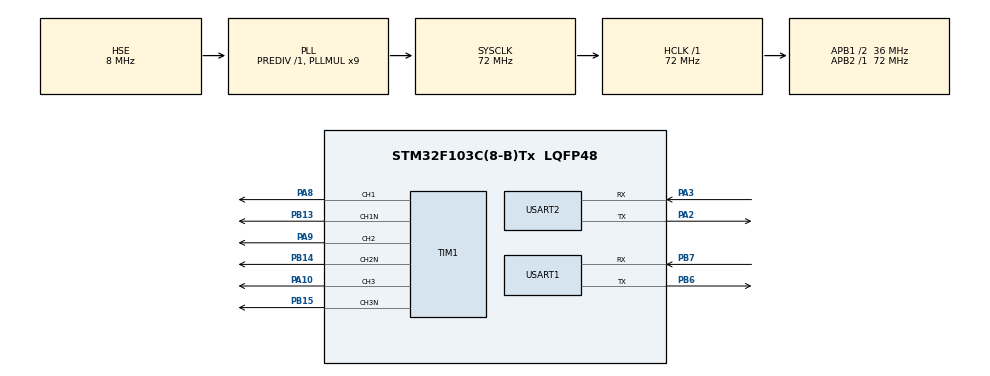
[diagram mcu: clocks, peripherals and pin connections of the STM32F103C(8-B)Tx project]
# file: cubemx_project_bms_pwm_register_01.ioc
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Mcu.Family=STM32F1
Mcu.Name=STM32F103C(8-B)Tx
Mcu.Package=LQFP48
NVIC.PriorityGroup=NVIC_PRIORITYGROUP_4
NVIC.RCC_IRQn=true\:0\:0\:false\:false\:true\:true\:false\:true
NVIC.TIM2_IRQn=true\:0\:0\:false\:false\:true\:true\:true\:true
NVIC.USART1_IRQn=true\:0\:0\:false\:false\:true\:true\:true\:true
NVIC.USART2_IRQn=true\:0\:0\:false\:false\:true\:true\:true\:true
PA10.GPIO_ModeDefaultPP=GPIO_MODE_AF_PP
PA10.GPIO_Speed=GPIO_SPEED_FREQ_LOW
PA10.Signal=S_TIM1_CH3
PA13.Mode=Serial_Wire
PA13.Signal=SYS_JTMS-SWDIO
PA14.Mode=Serial_Wire
PA14.Signal=SYS_JTCK-SWCLK
PA2.Mode=Asynchronous
PA2.Signal=USART2_TX
PA3.Mode=Asynchronous
PA3.Signal=USART2_RX
PA8.GPIO_ModeDefaultPP=GPIO_MODE_AF_PP
PA8.GPIO_Speed=GPIO_SPEED_FREQ_LOW
PA8.Signal=S_TIM1_CH1
PA9.GPIO_ModeDefaultPP=GPIO_MODE_AF_PP
PA9.GPIO_Speed=GPIO_SPEED_FREQ_LOW
PA9.Signal=S_TIM1_CH2
PB13.GPIO_ModeDefaultPP=GPIO_MODE_AF_PP
PB13.GPIO_Speed=GPIO_SPEED_FREQ_LOW
PB13.Mode=PWM Generation1 CH1 CH1N
PB13.Signal=TIM1_CH1N
PB14.GPIO_ModeDefaultPP=GPIO_MODE_AF_PP
PB14.GPIO_Speed=GPIO_SPEED_FREQ_LOW
PB14.Mode=PWM Generation2 CH2 CH2N
PB14.Signal=TIM1_CH2N
PB15.GPIO_ModeDefaultPP=GPIO_MODE_AF_PP
PB15.GPIO_Speed=GPIO_SPEED_FREQ_LOW
PB15.Mode=PWM Generation3 CH3 CH3N
PB15.Signal=TIM1_CH3N
PB6.Mode=Asynchronous
PB6.Signal=USART1_TX
PB7.Mode=Asynchronous
PB7.Signal=USART1_RX
PD0-OSC_IN.Mode=HSE-External-Oscillator
PD0-OSC_IN.Signal=RCC_OSC_IN
PD1-OSC_OUT.Mode=HSE-External-Oscillator
PD1-OSC_OUT.Signal=RCC_OSC_OUT
ProjectManager.HeapSize=0x200
ProjectManager.StackSize=0x400
ProjectManager.TargetToolchain=STM32CubeIDE
RCC.AHBFreq_Value=72000000
RCC.APB1CLKDivider=RCC_HCLK_DIV2
RCC.APB1Freq_Value=36000000
RCC.APB1TimFreq_Value=72000000
RCC.APB2Freq_Value=72000000
RCC.APB2TimFreq_Value=72000000
RCC.EnbaleCSS=true
RCC.HCLKFreq_Value=72000000
RCC.PLLMUL=RCC_PLL_MUL9
RCC.PLLSourceVirtual=RCC_PLLSOURCE_HSE
RCC.SYSCLKFreq_VALUE=72000000
RCC.SYSCLKSource=RCC_SYSCLKSOURCE_PLLCLK
RCC.USBFreq_Value=72000000
SH.S_TIM1_CH1.0=TIM1_CH1,PWM Generation1 CH1 CH1N
SH.S_TIM1_CH2.0=TIM1_CH2,PWM Generation2 CH2 CH2N
SH.S_TIM1_CH3.0=TIM1_CH3,PWM Generation3 CH3 CH3N
TIM1.Channel-PWM\ Generation1\ CH1\ CH1N=TIM_CHANNEL_1
TIM1.Channel-PWM\ Generation2\ CH2\ CH2N=TIM_CHANNEL_2
TIM1.Channel-PWM\ Generation3\ CH3\ CH3N=TIM_CHANNEL_3
USART1.VirtualMode=VM_ASYNC
USART2.VirtualMode=VM_ASYNC
VP_TIM1_VS_ClockSourceINT.Mode=Internal
VP_TIM2_VS_ClockSourceINT.Mode=Internal
board=custom

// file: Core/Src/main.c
/* USER CODE BEGIN Header */
/**
  ******************************************************************************
  * @file           : main.c
  * @brief          : Main program body
  ******************************************************************************
  * @attention
  *
  * Copyright (c) 2024 STMicroelectronics.
  * All rights reserved.
  *
  * This software is licensed under terms that can be found in the LICENSE file
  * in the root directory of this software component.
  * If no LICENSE file comes with this software, it is provided AS-IS.
  *
  ******************************************************************************
  */
/* USER CODE END Header */
#include "main.h"

/* USER CODE BEGIN Includes */
#include <stdio.h>
#include <string.h>
#include <stdbool.h>
/* USER CODE END Includes */

/* USER CODE BEGIN PD */
GPIO_InitTypeDef m_gpioInit;
GPIO_TypeDef m_gpioType;

/* USER CODE END PD */

TIM_HandleTypeDef htim1;
TIM_HandleTypeDef htim2;

UART_HandleTypeDef huart1;
UART_HandleTypeDef huart2;

/* USER CODE BEGIN PV */
uint16_t autoReload = 60;

uint8_t g_rxTempBuf[1];
uint8_t g_rxBuf[40];
uint8_t g_txBuf[40];
uint16_t g_rxIndex;
bool g_rxIntFlg;
/* USER CODE END PV */

void SystemClock_Config(void);
static void MX_GPIO_Init(void);
static void MX_TIM1_Init(void);
static void MX_USART1_UART_Init(void);
static void MX_TIM2_Init(void);
static void MX_USART2_UART_Init(void);
/* USER CODE BEGIN PFP */
void UsrInitPwm(void);
void UsrInitGpio(void);
/* USER CODE END PFP */

/* USER CODE BEGIN 0 */
void HAL_UART_RxCpltCallback(UART_HandleTypeDef *huart)
{
	if(huart->Instance == USART1)
	{
		g_rxBuf[g_rxIndex++] = g_rxTempBuf[0];
		if(g_rxIndex >= 40)
			g_rxIndex = 0;
		g_rxIntFlg = true;
		HAL_UART_Receive_IT(&huart1, (uint8_t*)g_rxTempBuf, 1);
	}
}
/* USER CODE END 0 */

int main(void)
{

  /* MCU Configuration--------------------------------------------------------*/

  /* Reset of all peripherals, Initializes the Flash interface and the Systick. */
  HAL_Init();

  /* Configure the system clock */
  SystemClock_Config();

  /* Initialize all configured peripherals */
  MX_GPIO_Init();
  MX_TIM1_Init();
  MX_USART1_UART_Init();
  MX_TIM2_Init();
  MX_USART2_UART_Init();
  /* USER CODE BEGIN 2 */

  HAL_UART_Receive_IT(&huart1, (uint8_t*)g_rxTempBuf, 1);
  UsrInitGpio();
  UsrInitPwm();

  HAL_UART_Transmit(&huart2, (uint8_t*)g_txBuf, sprintf((char*)g_txBuf, "Starting While Loop\n"), 100);
  /* USER CODE END 2 */

  /* Infinite loop */
  while (1)
  {

    /* USER CODE BEGIN 3 */
//	  UsrInitPwm();
	  if(g_rxIntFlg)
	  {
		  if (g_rxTempBuf[0] == '1')
		  {
			  if (autoReload <= 100)
			  {
				  autoReload += 10;
			  }
		  }
		  g_rxIntFlg = false;
	  }
  }
  /* USER CODE END 3 */
}

void SystemClock_Config(void)
{
  RCC_OscInitTypeDef RCC_OscInitStruct = {0};
  RCC_ClkInitTypeDef RCC_ClkInitStruct = {0};

  /** Initializes the RCC Oscillators according to the specified parameters
  * in the RCC_OscInitTypeDef structure.
  */
  RCC_OscInitStruct.OscillatorType = RCC_OSCILLATORTYPE_HSE;
  RCC_OscInitStruct.HSEState = RCC_HSE_ON;
  RCC_OscInitStruct.HSEPredivValue = RCC_HSE_PREDIV_DIV1;
  RCC_OscInitStruct.HSIState = RCC_HSI_ON;
  RCC_OscInitStruct.PLL.PLLState = RCC_PLL_ON;
  RCC_OscInitStruct.PLL.PLLSource = RCC_PLLSOURCE_HSE;
  RCC_OscInitStruct.PLL.PLLMUL = RCC_PLL_MUL9;
  if (HAL_RCC_OscConfig(&RCC_OscInitStruct) != HAL_OK)
  {
    Error_Handler();
  }

  /** Initializes the CPU, AHB and APB buses clocks
  */
  RCC_ClkInitStruct.ClockType = RCC_CLOCKTYPE_HCLK|RCC_CLOCKTYPE_SYSCLK
                              |RCC_CLOCKTYPE_PCLK1|RCC_CLOCKTYPE_PCLK2;
  RCC_ClkInitStruct.SYSCLKSource = RCC_SYSCLKSOURCE_PLLCLK;
  RCC_ClkInitStruct.AHBCLKDivider = RCC_SYSCLK_DIV1;
  RCC_ClkInitStruct.APB1CLKDivider = RCC_HCLK_DIV2;
  RCC_ClkInitStruct.APB2CLKDivider = RCC_HCLK_DIV1;

  if (HAL_RCC_ClockConfig(&RCC_ClkInitStruct, FLASH_LATENCY_2) != HAL_OK)
  {
    Error_Handler();
  }

  /** Enables the Clock Security System
  */
  HAL_RCC_EnableCSS();
}

static void MX_TIM1_Init(void)
{

  TIM_ClockConfigTypeDef sClockSourceConfig = {0};
  TIM_MasterConfigTypeDef sMasterConfig = {0};
  TIM_OC_InitTypeDef sConfigOC = {0};
  TIM_BreakDeadTimeConfigTypeDef sBreakDeadTimeConfig = {0};

  htim1.Instance = TIM1;
  htim1.Init.Prescaler = 0;
  htim1.Init.CounterMode = TIM_COUNTERMODE_UP;
  htim1.Init.Period = 65535;
  htim1.Init.ClockDivision = TIM_CLOCKDIVISION_DIV1;
  htim1.Init.RepetitionCounter = 0;
  htim1.Init.AutoReloadPreload = TIM_AUTORELOAD_PRELOAD_DISABLE;
  if (HAL_TIM_Base_Init(&htim1) != HAL_OK)
  {
    Error_Handler();
  }
  sClockSourceConfig.ClockSource = TIM_CLOCKSOURCE_INTERNAL;
  if (HAL_TIM_ConfigClockSource(&htim1, &sClockSourceConfig) != HAL_OK)
  {
    Error_Handler();
  }
  if (HAL_TIM_PWM_Init(&htim1) != HAL_OK)
  {
    Error_Handler();
  }
  sMasterConfig.MasterOutputTrigger = TIM_TRGO_RESET;
  sMasterConfig.MasterSlaveMode = TIM_MASTERSLAVEMODE_DISABLE;
  if (HAL_TIMEx_MasterConfigSynchronization(&htim1, &sMasterConfig) != HAL_OK)
  {
    Error_Handler();
  }
  sConfigOC.OCMode = TIM_OCMODE_PWM1;
  sConfigOC.Pulse = 0;
  sConfigOC.OCPolarity = TIM_OCPOLARITY_HIGH;
  sConfigOC.OCNPolarity = TIM_OCNPOLARITY_HIGH;
  sConfigOC.OCFastMode = TIM_OCFAST_DISABLE;
  sConfigOC.OCIdleState = TIM_OCIDLESTATE_RESET;
  sConfigOC.OCNIdleState = TIM_OCNIDLESTATE_RESET;
  if (HAL_TIM_PWM_ConfigChannel(&htim1, &sConfigOC, TIM_CHANNEL_1) != HAL_OK)
  {
    Error_Handler();
  }
  if (HAL_TIM_PWM_ConfigChannel(&htim1, &sConfigOC, TIM_CHANNEL_2) != HAL_OK)
  {
    Error_Handler();
  }
  if (HAL_TIM_PWM_ConfigChannel(&htim1, &sConfigOC, TIM_CHANNEL_3) != HAL_OK)
  {
    Error_Handler();
  }
  sBreakDeadTimeConfig.OffStateRunMode = TIM_OSSR_DISABLE;
  sBreakDeadTimeConfig.OffStateIDLEMode = TIM_OSSI_DISABLE;
  sBreakDeadTimeConfig.LockLevel = TIM_LOCKLEVEL_OFF;
  sBreakDeadTimeConfig.DeadTime = 0;
  sBreakDeadTimeConfig.BreakState = TIM_BREAK_DISABLE;
  sBreakDeadTimeConfig.BreakPolarity = TIM_BREAKPOLARITY_HIGH;
  sBreakDeadTimeConfig.AutomaticOutput = TIM_AUTOMATICOUTPUT_DISABLE;
  if (HAL_TIMEx_ConfigBreakDeadTime(&htim1, &sBreakDeadTimeConfig) != HAL_OK)
  {
    Error_Handler();
  }
  HAL_TIM_MspPostInit(&htim1);

}

static void MX_TIM2_Init(void)
{

  TIM_ClockConfigTypeDef sClockSourceConfig = {0};
  TIM_MasterConfigTypeDef sMasterConfig = {0};

  htim2.Instance = TIM2;
  htim2.Init.Prescaler = 0;
  htim2.Init.CounterMode = TIM_COUNTERMODE_UP;
  htim2.Init.Period = 65535;
  htim2.Init.ClockDivision = TIM_CLOCKDIVISION_DIV1;
  htim2.Init.AutoReloadPreload = TIM_AUTORELOAD_PRELOAD_DISABLE;
  if (HAL_TIM_Base_Init(&htim2) != HAL_OK)
  {
    Error_Handler();
  }
  sClockSourceConfig.ClockSource = TIM_CLOCKSOURCE_INTERNAL;
  if (HAL_TIM_ConfigClockSource(&htim2, &sClockSourceConfig) != HAL_OK)
  {
    Error_Handler();
  }
  sMasterConfig.MasterOutputTrigger = TIM_TRGO_RESET;
  sMasterConfig.MasterSlaveMode = TIM_MASTERSLAVEMODE_DISABLE;
  if (HAL_TIMEx_MasterConfigSynchronization(&htim2, &sMasterConfig) != HAL_OK)
  {
    Error_Handler();
  }

}

static void MX_USART1_UART_Init(void)
{

  huart1.Instance = USART1;
  huart1.Init.BaudRate = 115200;
  huart1.Init.WordLength = UART_WORDLENGTH_8B;
  huart1.Init.StopBits = UART_STOPBITS_1;
  huart1.Init.Parity = UART_PARITY_NONE;
  huart1.Init.Mode = UART_MODE_TX_RX;
  huart1.Init.HwFlowCtl = UART_HWCONTROL_NONE;
  huart1.Init.OverSampling = UART_OVERSAMPLING_16;
  if (HAL_UART_Init(&huart1) != HAL_OK)
  {
    Error_Handler();
  }

}

static void MX_USART2_UART_Init(void)
{

  huart2.Instance = USART2;
  huart2.Init.BaudRate = 115200;
  huart2.Init.WordLength = UART_WORDLENGTH_8B;
  huart2.Init.StopBits = UART_STOPBITS_1;
  huart2.Init.Parity = UART_PARITY_NONE;
  huart2.Init.Mode = UART_MODE_TX_RX;
  huart2.Init.HwFlowCtl = UART_HWCONTROL_NONE;
  huart2.Init.OverSampling = UART_OVERSAMPLING_16;
  if (HAL_UART_Init(&huart2) != HAL_OK)
  {
    Error_Handler();
  }

}

static void MX_GPIO_Init(void)
{

  /* GPIO Ports Clock Enable */
  __HAL_RCC_GPIOD_CLK_ENABLE();
  __HAL_RCC_GPIOA_CLK_ENABLE();
  __HAL_RCC_GPIOB_CLK_ENABLE();

}

/* USER CODE BEGIN 4 */
void UsrInitGpio(void)
{
	GPIOA->CRL &= (uint32_t)0x00000000;
	GPIOB->CRL &= (uint32_t)0x00000000;

	GPIOA->CRH &= (uint32_t)0x00000000;
	GPIOA->CRH |= (uint32_t)0x00000BBB;

	GPIOB->CRH &= (uint32_t)0x00000000;
	GPIOB->CRH |= (uint32_t)0xBBB00000;

}

void UsrInitPwm(void)
{
    // Zamanlayıcı ayarları
	TIM1->PSC = 11;  // Prescaler: 0
	TIM1->ARR = autoReload - 1;  // Auto-reload register

//	TIM1->CR1 |= (uint32_t)0x00;  // clock division is 0
//	TIM1->CR1 |= (uint32_t)0x80;  // auto-preload enable
//	TIM1->CR1 |= (uint32_t)0x00;  // 00 edge-aligned mode
//	TIM1->CR1 |= (uint32_t)0x10;  // counter up counter
//	TIM1->CR1 |= (uint32_t)0x01;  // counter enbale

    // PWM mode 1 (upcounting, TIMx_CCRx < TIMx_CNT) oc1 and oc2
	TIM1->CCMR1 &= ~(TIM_CCMR1_OC1M | TIM_CCMR1_OC2M);
	TIM1->CCMR1 |= (uint32_t)0x6868;  // pwm mode 1 and output compare enable

	TIM1->CCMR2 &= ~(TIM_CCMR2_OC3M);
	TIM1->CCMR2 |= (uint32_t)0x68; // bunlari kontrol et

    // Capture/compare register
	TIM1->CCR1 = (autoReload) * (0.5);  // Duty cycle %50
	TIM1->CCR2 = (autoReload) * (0.6);
	TIM1->CCR3 = (autoReload) * (0.7);
    // CC1E and CC1NE enable
	TIM1->CCER |= (uint32_t)0x555; // TIM1_CH1 TIM1_CH2 TIM1_CH3 output enable and TIM1_CH1N TIM1_CH2N TIM1_CH3N complementary output enable

    // Break and dead-time register (BDTR)
	TIM1->BDTR |= (uint32_t)0x8400;  // MOE and OSSI enable

    // Counter enable
	TIM1->CR1 |= (uint32_t)0x01;  // Counter enable
}
/* USER CODE END 4 */

void Error_Handler(void)
{
  __disable_irq();
  while (1)
  {
  }
}
